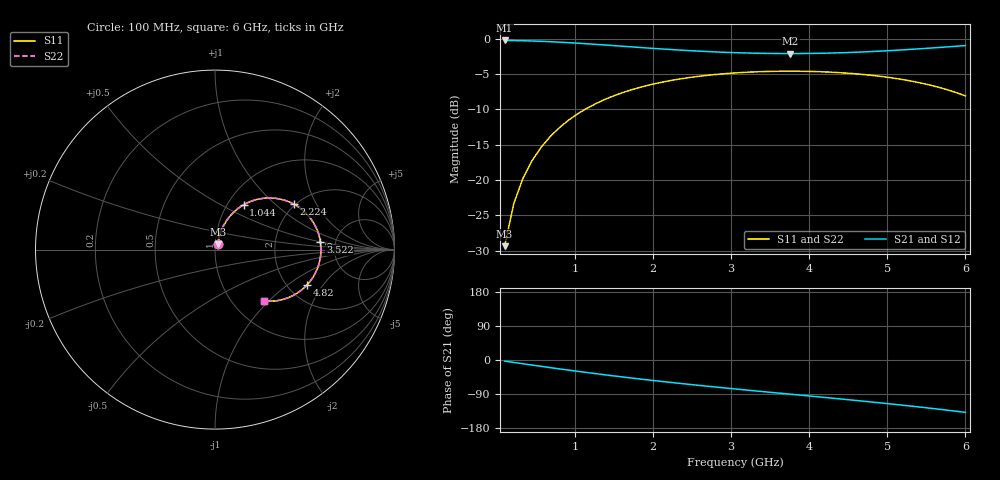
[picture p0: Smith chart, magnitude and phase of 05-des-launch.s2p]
! UNVERIFIED synthetic. Does not qualify hardware.
! MAX96724 launch. Package/pad map UNVERIFIED.
# Hz S RI R 50
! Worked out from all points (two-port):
!   51 points, 100 MHz to 6 GHz, reference 50 ohm
!   highest |S21| = -0.22 dB at 100 MHz (marker M1); lowest = -2.1 dB at 3.758 GHz (marker M2)
!   |S21| within 3 dB of the highest: start of sweep to end of sweep
!   lowest |S11| = -29.4 dB at 100 MHz (marker M3), VSWR 1.07, Z = 51.6 + j3.08 ohm
!   |S11| at or under -10 dB: start of sweep to 1.129 GHz
!   |S22| runs from -29.4 to -4.6 dB; largest |S21 - S12| = 0
!   S11 on the Smith chart (normalised r, x): 100 MHz: 1.03, +0.06; 1.044 GHz: 1.19, +0.65; 2.224 GHz: 1.96, +1.34; 3.522 GHz: 3.79, +0.51; 4.82 GHz: 2.55, -1.42; 6 GHz: 1.38, -0.93
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1e8  0.0162 0.0298  0.9736 -0.0506  0.9736 -0.0506  0.0162 0.0298
2.18e8  0.022 0.0646  0.967 -0.1098  0.967 -0.1098  0.022 0.0646
3.36e8  0.0319 0.0981  0.9557 -0.1679  0.9557 -0.1679  0.0319 0.0981
4.54e8  0.0457 0.1301  0.9398 -0.2243  0.9398 -0.2243  0.0457 0.1301
5.72e8  0.063 0.1598  0.9198 -0.2786  0.9198 -0.2786  0.063 0.1598
6.9e8  0.0836 0.1869  0.8959 -0.3303  0.8959 -0.3303  0.0836 0.1869
8.08e8  0.1068 0.2111  0.8687 -0.3791  0.8687 -0.3791  0.1068 0.2111
1.044e9  0.1595 0.2499  0.806 -0.4673  0.806 -0.4673  0.1595 0.2499
1.162e9  0.188 0.2642  0.7715 -0.5063  0.7715 -0.5063  0.188 0.2642
1.634e9  0.306 0.2879  0.6222 -0.6297  0.6222 -0.6297  0.306 0.2879
2.106e9  0.4145 0.2653  0.4695 -0.7076  0.4695 -0.7076  0.4145 0.2653
2.224e9  0.4384 0.2539  0.4322 -0.7215  0.4322 -0.7215  0.4384 0.2539
2.696e9  0.5177 0.1915  0.2894 -0.7603  0.2894 -0.7603  0.5177 0.1915
3.05e9  0.5585 0.1321  0.1886 -0.7763  0.1886 -0.7763  0.5585 0.1321
3.522e9  0.5872 0.0438  0.0601 -0.7862  0.0601 -0.7862  0.5872 0.0438
3.758e9  0.5905 -0.00206  -0.00282 -0.7872  -0.00282 -0.7872  0.5905 -0.00206
4.112e9  0.5818 -0.0705  -0.0975 -0.7844  -0.0975 -0.7844  0.5818 -0.0705
4.466e9  0.5565 -0.1359  -0.1945 -0.7756  -0.1945 -0.7756  0.5565 -0.1359
4.82e9  0.5147 -0.1948  -0.2956 -0.759  -0.2956 -0.759  0.5147 -0.1948
5.056e9  0.4779 -0.2285  -0.366 -0.7421  -0.366 -0.7421  0.4779 -0.2285
5.528e9  0.3845 -0.2761  -0.514 -0.6886  -0.514 -0.6886  0.3845 -0.2761
6e9  0.2714 -0.2863  -0.6673 -0.5985  -0.6673 -0.5985  0.2714 -0.2863
